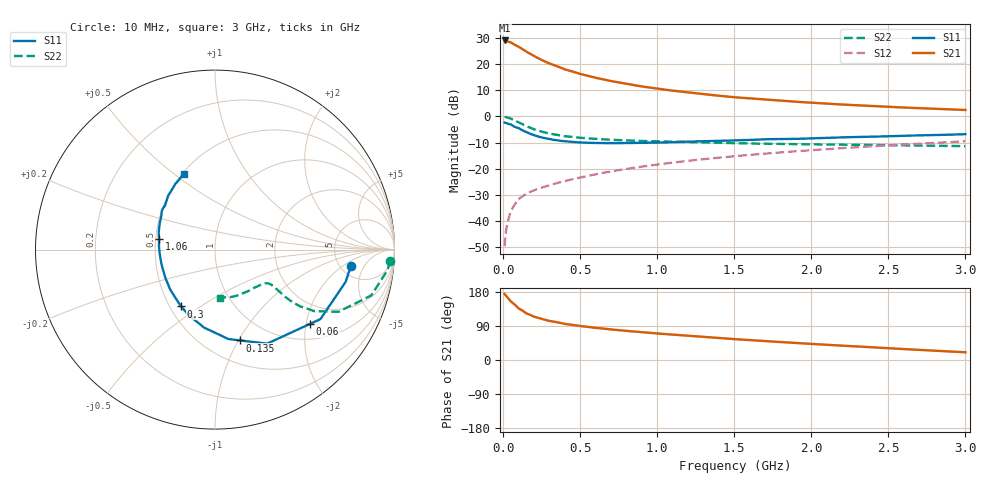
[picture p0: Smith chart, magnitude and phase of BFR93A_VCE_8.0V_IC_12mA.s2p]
! Infineon Technologies  Discrete & RF Semiconductors
! BFR93A
! VCE =  8.0 V,  IC =  12 mA
! Common Emitter S-Parameters:  Nov 2015
# GHz  S  MA  R  50
!  f  S11  S21  S12  S22
! GHz  MAG  ANG  MAG  ANG  MAG  ANG  MAG  ANG
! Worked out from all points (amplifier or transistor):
!   180 points, 10 MHz to 3 GHz, reference 50 ohm
!   highest |S21| = 29.0 dB at 10 MHz (marker M1)
!   |S21| within 3 dB of that: start of sweep to 116.5 MHz
!   unconditionally stable (mu >= 1): 566.3 MHz to 2.544 GHz
!   at 160 MHz: K = 0.54, MSG = 26.9 dB, |S12| = -29.4 dB
!   at 1.22 GHz: K = 1.08, MAG = 11.2 dB, |S12| = -16.9 dB
!   at 3 GHz: K = 0.96, MSG = 6.0 dB, |S12| = -9.5 dB
!   S11 on the Smith chart (normalised r, x): 10 MHz: 6.17, -2.73; 60 MHz: 1.39, -2.10; 135 MHz: 0.73, -1.02; 300 MHz: 0.57, -0.42; 1.06 GHz: 0.52, +0.07; 3 GHz: 0.51, +0.54
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0.01  0.762 -7.0  28.26 174.2  0.0033 85.2  0.9782 -3.6
0.02  0.7501 -13.8  27.87 169.1  0.0067 83.0  0.9678 -6.8
0.05  0.7036 -33.4  25.96 154.7  0.0151 74.3  0.9076 -16.3
0.06  0.6714 -38.1  24.89 151.6  0.0173 71.5  0.8781 -18.1
0.1  0.5992 -61.0  21.48 136.4  0.0261 65.1  0.7708 -26.7
0.135  0.5248 -74.6  18.46 127.8  0.0308 61.6  0.6861 -30.1
0.15  0.5038 -81.5  17.32 123.3  0.0329 60.4  0.6506 -31.8
0.2  0.4388 -97.9  14.25 114.5  0.0385 59.2  0.5681 -33.7
0.24  0.4031 -107.9  12.4 109.4  0.0424 58.9  0.5214 -34.1
0.26  0.3899 -112.6  11.62 107.1  0.0443 59.0  0.5016 -34.1
0.3  0.369 -120.9  10.27 103.1  0.0481 59.9  0.4694 -33.9
0.4  0.3348 -138.1  7.941 95.3  0.058 61.8  0.4178 -32.9
0.52  0.3152 -153.2  6.278 88.7  0.0698 63.3  0.3854 -32.1
0.6  0.3101 -161.5  5.471 84.8  0.0782 64.2  0.3702 -31.9
0.7  0.308 -169.2  4.735 80.6  0.0886 64.7  0.357 -32.2
0.88  0.3116 178.5  3.82 74.1  0.1073 65.0  0.34 -33.5
1.02  0.3162 170.7  3.326 69.4  0.1221 64.7  0.3314 -35.0
1.06  0.3183 168.9  3.212 68.2  0.1264 64.6  0.3289 -35.7
1.52  0.3481 150.3  2.299 54.6  0.1751 62.1  0.3063 -43.7
2.02  0.3815 135.3  1.808 42.0  0.2278 58.2  0.2912 -55.1
2.52  0.419 123.3  1.513 30.7  0.2814 53.5  0.2805 -68.4
3  0.4561 112.2  1.325 20.4  0.3339 48.5  0.2694 -84.4
